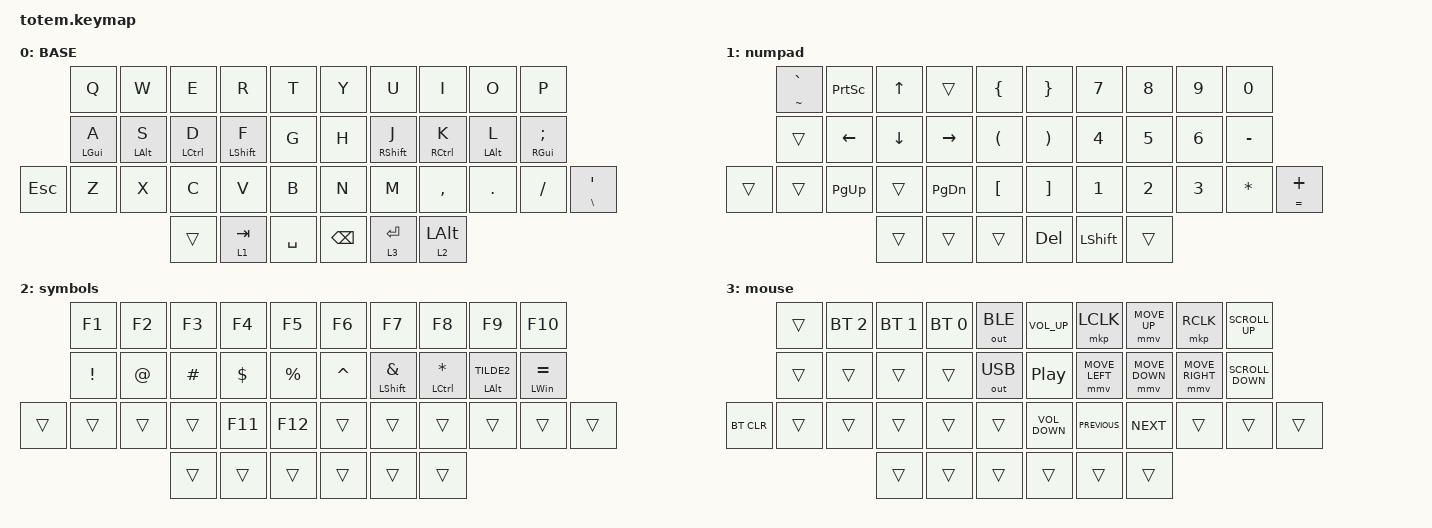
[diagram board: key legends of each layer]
#include <behaviors.dtsi>
#include <dt-bindings/zmk/bt.h>
#include <dt-bindings/zmk/keys.h>
#include <dt-bindings/zmk/outputs.h>
#include <dt-bindings/zmk/pointing.h>
#include <dt-bindings/zmk/pointing.h>

#define BASE 0
#define NAV  1
#define SYM  2
#define ADJ  3
#define TVP1 4
#define TVP2 5

&mt {
    quick-tap-ms = <100>;
    global-quick-tap;
    flavor = "tap-preferred";
    tapping-term-ms = <170>;
};

/ {
    combos {
        compatible = "zmk,combos";

        copy {
            bindings = <&kp LC(C)>;
            key-positions = <12 11>;
        };

        pasta {
            bindings = <&kp LC(V)>;
            key-positions = <13 12>;
        };

        prev {
            bindings = <&kp LC(Z)>;
            key-positions = <2 1>;
        };

        selectall {
            bindings = <&kp LC(A)>;
            key-positions = <3 2>;
        };

        cut {
            bindings = <&kp LC(X)>;
            key-positions = <14 13>;
        };

        enter {
            bindings = <&kp ENTER>;
            key-positions = <24 25>;
        };
    };

    macros {
        gif: gif {
            label = "giphy";
            compatible = "zmk,behavior-macro";
            #binding-cells = <0>;
            bindings =
                <&macro_press>,
                <&kp LSHFT>,
                <&macro_tap>,
                <&kp N2>,
                <&macro_release>,
                <&kp LSHFT>,
                <&macro_tap>,
                <&kp G &kp I &kp F>;
        };
    };

    keymap {
        compatible = "zmk,keymap";

        // ▄▄▄▄▄▄▄▄▄▄▄▄▄▄▄▄▄▄▄▄▄▄▄▄▄▄▄▄▄▄▄▄▄▄▄▄▄▄▄▄▄▄▄▄▄▄▄▄▄▄▄▄▄▄▄▄▄▄▄▄▄▄▄▄▄▄▄▄▄▄▄▄▄▄▄▄▄▄▄▄▄▄▄▄▄▄▄▄▄▄▄▄▄▄▄▄▄▄▄▄▄▄▄▄▄▄▄▄▄▄▄▄▄▄▄▄▄▄▄▄▄▄▄▄▄▄▄▄▄▄▄▄▄▄▄▄▄▄▄▄▄▄▄▄▄▄▄▄▄

        base_layer {
            // ┏━━━━━━━━━━━━━━━━━━━━━━━━━━━━━━━━━━━━━━━┓

            label = "BASE";

            // ┗━━━━━━━━━━━━━━━━━━━━━━━━━━━━━━━━━━━━━━━┛
            //             ┏━━━━━━━━━━━┳━━━━━━━━━━━┳━━━━━━━━━━━┳━━━━━━━━━━━┳━━━━━━━━━━━┓   ┏━━━━━━━━━━━┳━━━━━━━━━━━┳━━━━━━━━━━━┳━━━━━━━━━━━┳━━━━━━━━━━━┓
            //             ┃     Q     ┃     W     ┃     F     ┃     P     ┃     G     ┃   ┃     J     ┃     L     ┃     U     ┃     Y     ┃     ;     ┃
            //             ┣━━━━━━━━━━━╋━━━━━━━━━━━╋━━━━━━━━━━━╋━━━━━━━━━━━╋━━━━━━━━━━━┫   ┣━━━━━━━━━━━╋━━━━━━━━━━━╋━━━━━━━━━━━╋━━━━━━━━━━━╋━━━━━━━━━━━┫
            //             ┃     A     ┃     R     ┃     S     ┃     T     ┃     D     ┃   ┃     H     ┃     N     ┃     E     ┃     I     ┃     O     ┃
            // ┏━━━━━━━━━━━╋━━━━━━━━━━━╋━━━━━━━━━━━╋━━━━━━━━━━━╋━━━━━━━━━━━╋━━━━━━━━━━━┫   ┣━━━━━━━━━━━╋━━━━━━━━━━━╋━━━━━━━━━━━╋━━━━━━━━━━━╋━━━━━━━━━━━╋━━━━━━━━━━━┓
            // ┃     Q     ┃     Z     ┃     X     ┃     C     ┃     V     ┃     B     ┃   ┃     K     ┃     M     ┃     ,     ┃     .     ┃     /     ┃     \     ┃
            // ┗━━━━━━━━━━━┻━━━━━━━━━━━┻━━━━━━━━━━━╋━━━━━━━━━━━╋━━━━━━━━━━━╋━━━━━━━━━━━┫   ┣━━━━━━━━━━━╋━━━━━━━━━━━╋━━━━━━━━━━━╋━━━━━━━━━━━┻━━━━━━━━━━━┻━━━━━━━━━━━┛
            //                                     ┃    DEL    ┃    TAB    ┃    SPC    ┃   ┃   ENTER   ┃           ┃   BSPC    ┃
            //                                     ┗━━━━━━━━━━━┻━━━━━━━━━━━┻━━━━━━━━━━━┛   ┗━━━━━━━━━━━┻━━━━━━━━━━━┻━━━━━━━━━━━┛

            bindings = <
         &kp Q       &kp W       &kp E        &kp R        &kp T        &kp Y          &kp U        &kp I           &kp O           &kp P
         &mt LGUI A  &mt LALT S  &mt LCTRL D  &mt LSHFT F  &kp G        &kp H          &mt RSHFT J  &mt RCTRL K     &mt LEFT_ALT L  &mt RGUI SEMICOLON
&kp ESC  &kp Z       &kp X       &kp C        &kp V        &kp B        &kp N          &kp M        &kp COMMA       &kp DOT         &kp FSLH            &mt BACKSLASH APOS
                                 &trans       &lt 1 TAB    &kp SPACE    &kp BACKSPACE  &lt 3 ENTER  &lt 2 LEFT_ALT
            >;
        };

        // ▄▄▄▄▄▄▄▄▄▄▄▄▄▄▄▄▄▄▄▄▄▄▄▄▄▄▄▄▄▄▄▄▄▄▄▄▄▄▄▄▄▄▄▄▄▄▄▄▄▄▄▄▄▄▄▄▄▄▄▄▄▄▄▄▄▄▄▄▄▄▄▄▄▄▄▄▄▄▄▄▄▄▄▄▄▄▄▄▄▄▄▄▄▄▄▄▄▄▄▄▄▄▄▄▄▄▄▄▄▄▄▄▄▄▄▄▄▄▄▄▄▄▄▄▄▄▄▄▄▄▄▄▄▄▄▄▄▄▄▄▄▄▄▄▄▄▄▄▄

        nav_layer {
            // ┏━━━━━━━━━━━━━━━━━━━━━━━━━━━━━━━━━━━━━━━┓

            label = "numpad";

            // ┗━━━━━━━━━━━━━━━━━━━━━━━━━━━━━━━━━━━━━━━┛
            //             ┏━━━━━━━━━━━┳━━━━━━━━━━━┳━━━━━━━━━━━┳━━━━━━━━━━━┳━━━━━━━━━━━┓   ┏━━━━━━━━━━━┳━━━━━━━━━━━┳━━━━━━━━━━━┳━━━━━━━━━━━┳━━━━━━━━━━━┓
            //             ┃           ┃           ┃     UP    ┃           ┃     {     ┃   ┃     }     ┃     7     ┃     8     ┃     9     ┃     +     ┃
            //             ┣━━━━━━━━━━━╋━━━━━━━━━━━╋━━━━━━━━━━━╋━━━━━━━━━━━╋━━━━━━━━━━━┫   ┣━━━━━━━━━━━╋━━━━━━━━━━━╋━━━━━━━━━━━╋━━━━━━━━━━━╋━━━━━━━━━━━┫
            //             ┃   SHIFT   ┃   LEFT    ┃    DOWN   ┃   RIGHT   ┃     [     ┃   ┃     ]     ┃     4     ┃     5     ┃     6     ┃     -     ┃
            // ┏━━━━━━━━━━━╋━━━━━━━━━━━╋━━━━━━━━━━━╋━━━━━━━━━━━╋━━━━━━━━━━━╋━━━━━━━━━━━┫   ┣━━━━━━━━━━━╋━━━━━━━━━━━╋━━━━━━━━━━━╋━━━━━━━━━━━╋━━━━━━━━━━━╋━━━━━━━━━━━┓
            // ┃           ┃           ┃   P UP    ┃  C LOCK   ┃  P DOWN   ┃     (     ┃   ┃     )     ┃     1     ┃     2     ┃     3     ┃     *     ┃           ┃
            // ┗━━━━━━━━━━━┻━━━━━━━━━━━┻━━━━━━━━━━━╋━━━━━━━━━━━╋━━━━━━━━━━━╋━━━━━━━━━━━┫   ┣━━━━━━━━━━━╋━━━━━━━━━━━╋━━━━━━━━━━━╋━━━━━━━━━━━┻━━━━━━━━━━━┻━━━━━━━━━━━┛
            //                                     ┃           ┃    TAB    ┃    SPC    ┃   ┃    DEL    ┃     0     ┃           ┃
            //                                     ┗━━━━━━━━━━━┻━━━━━━━━━━━┻━━━━━━━━━━━┛   ┗━━━━━━━━━━━┻━━━━━━━━━━━┻━━━━━━━━━━━┛

            bindings = <
        &mt TILDE GRAVE  &kp PRINTSCREEN  &kp UP    &trans     &kp LBRC                &kp RBRC               &kp N7          &kp N8        &kp N9        &kp N0
        &trans           &kp LEFT         &kp DOWN  &kp RIGHT  &kp LEFT_PARENTHESIS    &kp RIGHT_PARENTHESIS  &kp N4          &kp N5        &kp N6        &kp MINUS
&trans  &trans           &kp PG_UP        &trans    &kp PG_DN  &kp LEFT_BRACKET        &kp RIGHT_BRACKET      &kp NUMBER_1    &kp NUMBER_2  &kp NUMBER_3  &kp ASTERISK  &mt EQUAL PLUS
                                          &trans    &trans     &trans                  &kp DEL                &kp LEFT_SHIFT  &trans
            >;
        };

        // ▄▄▄▄▄▄▄▄▄▄▄▄▄▄▄▄▄▄▄▄▄▄▄▄▄▄▄▄▄▄▄▄▄▄▄▄▄▄▄▄▄▄▄▄▄▄▄▄▄▄▄▄▄▄▄▄▄▄▄▄▄▄▄▄▄▄▄▄▄▄▄▄▄▄▄▄▄▄▄▄▄▄▄▄▄▄▄▄▄▄▄▄▄▄▄▄▄▄▄▄▄▄▄▄▄▄▄▄▄▄▄▄▄▄▄▄▄▄▄▄▄▄▄▄▄▄▄▄▄▄▄▄▄▄▄▄▄▄▄▄▄▄▄▄▄▄▄▄▄

        symbols-fn {
            label = "symbols";
            bindings = <
        &kp F1           &kp F2       &kp F3     &kp F4      &kp F5         &kp F6     &kp F7                    &kp F8                  &kp F9               &kp F10
        &kp EXCLAMATION  &kp AT_SIGN  &kp POUND  &kp DOLLAR  &kp PERCENT    &kp CARET  &mt LEFT_SHIFT AMPERSAND  &mt LEFT_CONTROL ASTRK  &mt LEFT_ALT TILDE2  &mt LEFT_WIN EQUAL
&trans  &trans           &trans       &trans     &kp F11     &kp F12        &trans     &trans                    &trans                  &trans               &trans              &trans
                                      &trans     &trans      &trans         &trans     &trans                    &trans
            >;
        };

        // ▄▄▄▄▄▄▄▄▄▄▄▄▄▄▄▄▄▄▄▄▄▄▄▄▄▄▄▄▄▄▄▄▄▄▄▄▄▄▄▄▄▄▄▄▄▄▄▄▄▄▄▄▄▄▄▄▄▄▄▄▄▄▄▄▄▄▄▄▄▄▄▄▄▄▄▄▄▄▄▄▄▄▄▄▄▄▄▄▄▄▄▄▄▄▄▄▄▄▄▄▄▄▄▄▄▄▄▄▄▄▄▄▄▄▄▄▄▄▄▄▄▄▄▄▄▄▄▄▄▄▄▄▄▄▄▄▄▄▄▄▄▄▄▄▄▄▄▄▄

        Mouse {
            label = "mouse";
            bindings = <
            &trans  &bt BT_SEL 2  &bt BT_SEL 1  &bt BT_SEL 0  &out OUT_BLE    &kp C_VOLUME_UP    &mkp LCLK       &mmv MOVE_UP    &mkp RCLK        &kp K_SCROLL_UP
            &trans  &trans        &trans        &trans        &out OUT_USB    &kp C_PLAY_PAUSE   &mmv MOVE_LEFT  &mmv MOVE_DOWN  &mmv MOVE_RIGHT  &kp K_SCROLL_DOWN
&bt BT_CLR  &trans  &trans        &trans        &trans        &trans          &kp C_VOLUME_DOWN  &kp C_PREVIOUS  &kp C_NEXT      &trans           &trans             &trans
                                  &trans        &trans        &trans          &trans             &trans          &trans
            >;
        };

        // ▄▄▄▄▄▄▄▄▄▄▄▄▄▄▄▄▄▄▄▄▄▄▄▄▄▄▄▄▄▄▄▄▄▄▄▄▄▄▄▄▄▄▄▄▄▄▄▄▄▄▄▄▄▄▄▄▄▄▄▄▄▄▄▄▄▄▄▄▄▄▄▄▄▄▄▄▄▄▄▄▄▄▄▄▄▄▄▄▄▄▄▄▄▄▄▄▄▄▄▄▄▄▄▄▄▄▄▄▄▄▄▄▄▄▄▄▄▄▄▄▄▄▄▄▄▄▄▄▄▄▄▄▄▄▄▄▄▄▄▄▄▄▄▄▄▄▄▄▄
    };
};
